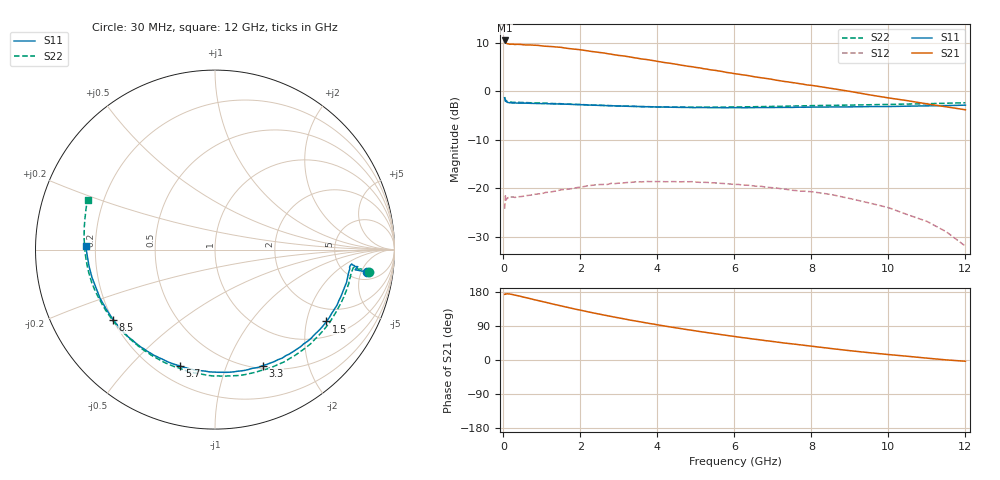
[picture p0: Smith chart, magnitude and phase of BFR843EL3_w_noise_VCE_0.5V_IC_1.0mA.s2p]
! Infineon Technologies  Discrete & RF Semiconductors
! BFR843EL3
! VCE =  0.5 V,  IC =  1.0 mA
! Common Emitter S-Parameters:  Aug 2013
# GHz  S  MA  R  50
!  f  S11  S21  S12  S22
! GHz  MAG  ANG  MAG  ANG  MAG  ANG  MAG  ANG
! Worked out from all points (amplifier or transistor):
!   103 points, 30 MHz to 12 GHz, reference 50 ohm
!   highest |S21| = 10.5 dB at 30 MHz (marker M1)
!   |S21| within 3 dB of that: start of sweep to 2.921 GHz
!   unconditionally stable (mu >= 1): 101.7 MHz to 633 MHz; 7.252 GHz to end of sweep
!   at 400 MHz: K = 1.02, MAG = 14.8 dB, |S12| = -21.7 dB
!   at 3.7 GHz: K = 0.71, MSG = 12.6 dB, |S12| = -18.6 dB
!   at 12 GHz: K = 6.09, MAG = 3.2 dB, |S12| = -31.9 dB
!   lowest NFmin = 1.54 dB at 450 MHz
!   S11 on the Smith chart (normalised r, x): 30 MHz: 6.84, -6.51; 1.5 GHz: 1.50, -2.63; 3.3 GHz: 0.53, -1.35; 5.7 GHz: 0.29, -0.70; 8.5 GHz: 0.20, -0.30; 12 GHz: 0.16, +0.01
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0.03  0.8582 -8.4  3.345 173.3  0.0615 40.4  0.8688 -8.3
0.05  0.7886 -8.2  3.22 174.5  0.0836 29.2  0.8213 -7.5
0.06  0.801 -6.8  3.165 173.9  0.0781 19.3  0.8069 -7.8
0.08  0.7819 -6.6  3.116 174.5  0.0784 17.7  0.7922 -7.4
0.15  0.7641 -6.2  3.055 174.4  0.0817 11.3  0.7761 -7.6
0.4  0.7553 -10.0  3.049 169.0  0.0819 6.8  0.769 -14.2
0.7  0.7518 -16.1  3.006 161.8  0.0849 6.7  0.762 -23.2
1.2  0.7434 -26.6  2.9 149.7  0.0911 6.7  0.7511 -38.5
1.5  0.7386 -32.8  2.84 142.7  0.0965 6.1  0.7445 -47.4
2.1  0.7256 -44.8  2.644 129.3  0.1043 3.8  0.7279 -64.1
2.6  0.7141 -54.7  2.488 118.8  0.1095 0.2  0.7161 -76.7
3.3  0.6992 -67.6  2.256 105.2  0.1149 -5.8  0.7021 -92.9
4.1  0.6891 -81.4  2.005 91.2  0.1174 -13.6  0.6905 -108.9
4.7  0.6821 -91.4  1.839 81.3  0.1171 -19.2  0.6871 -119.9
5.7  0.6774 -106.9  1.596 66.3  0.1121 -28.6  0.6875 -135.6
6.1  0.6783 -112.8  1.503 60.7  0.1096 -32.8  0.6911 -141.6
7.2  0.6821 -128.3  1.282 46.1  0.099 -42.7  0.7 -155.9
8.5  0.6891 -145.3  1.074 30.4  0.0865 -55.1  0.7167 -171.0
9.5  0.6956 -157.0  0.921 19.3  0.0706 -66.3  0.727 179.1
10.5  0.7029 -167.4  0.8 9.8  0.0534 -77.1  0.7391 170.2
11.5  0.7125 -177.1  0.692 0.3  0.0357 -91.3  0.7538 162.4
12  0.7199 178.6  0.645 -3.3  0.0253 -97.3  0.7619 158.8
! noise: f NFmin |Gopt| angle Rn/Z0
0.45  1.54  0.4  4  0.43
0.9  1.59  0.39  15  0.45
1.5  1.63  0.39  24  0.47
1.9  1.66  0.4  29  0.47
2.4  1.71  0.41  36  0.42
3.5  1.86  0.39  60  0.38
5.5  2.19  0.41  94  0.29
8  2.64  0.47  137  0.21
10  2.99  0.47  192  0.17
